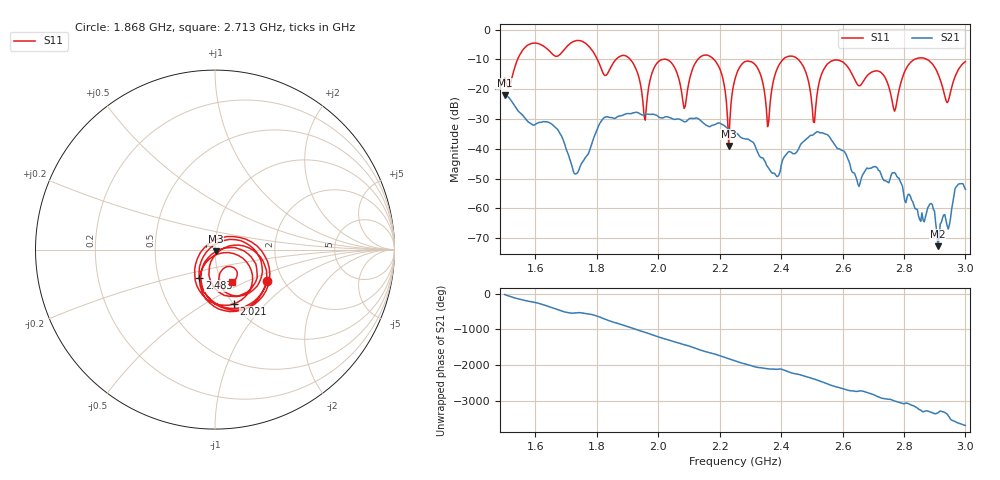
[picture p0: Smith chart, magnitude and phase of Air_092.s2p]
# HZ S RI R 50
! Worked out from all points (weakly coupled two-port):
!   404 points, 1.5 GHz to 3 GHz, reference 50 ohm
!   highest |S21| = -21.95 dB at 1.5 GHz (marker M1); lowest = -72.6 dB at 2.911 GHz (marker M2)
!   lowest |S11| = -39.0 dB at 2.23 GHz (marker M3), VSWR 1.02, Z = 50.5 - j1.02 ohm
!   |S11| at or under -10 dB: 2.181 GHz to 2.406 GHz (224.9 MHz wide, 9.8 % of centre); 2.456 GHz to 2.834 GHz (377.7 MHz wide, 14.3 % of centre); 2.875 GHz to end of sweep (the widest 3 of 7)
!   S12 and S22 are empty: the file has one direction only
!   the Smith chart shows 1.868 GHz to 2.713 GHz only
!   S11 on the Smith chart (normalised r, x): 1.868 GHz: 1.65, -0.65; 2.021 GHz: 1.01, -0.68; 2.483 GHz: 0.80, -0.26; 2.713 GHz: 1.12, -0.42
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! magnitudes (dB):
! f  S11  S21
! 1.5 GHz  -16.4  -22.0
! 1.753 GHz  -3.9  -44.5
! 1.868 GHz  -9.4  -29.1
! 1.958 GHz  -30.4  -28.4
! 2.002 GHz  -10.6  -29.4
! 2.021 GHz  -9.9  -29.3
! 2.084 GHz  -26.4  -30.9
! 2.177 GHz  -9.6  -32.0
! 2.23 GHz  -39.0  -33.4
! 2.252 GHz  -15.9  -34.6
! 2.315 GHz  -11.7  -38.9
! 2.356 GHz  -32.5  -45.9
! 2.386 GHz  -13.5  -49.2
! 2.483 GHz  -14.9  -36.7
! 2.501 GHz  -25.9  -35.4
! 2.565 GHz  -10.5  -37.1
! 2.65 GHz  -18.6  -51.8
! 2.713 GHz  -13.8  -46.5
! 2.751 GHz  -19.1  -51.4
! 2.911 GHz  -14.8  -72.6
! 2.94 GHz  -24.5  -65.8
! 3 GHz  -10.7  -53.6
